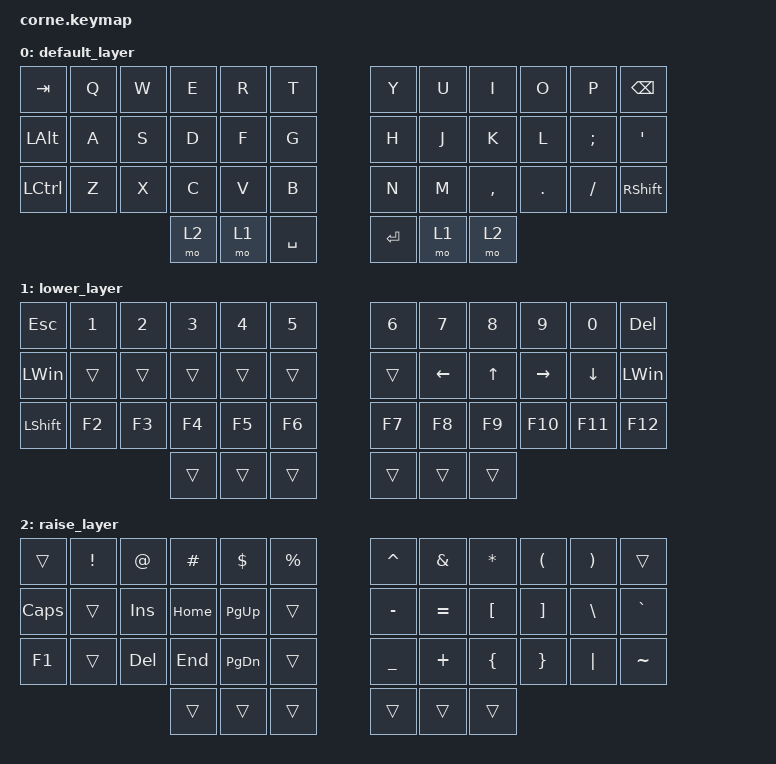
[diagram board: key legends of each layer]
/*
 * Copyright (c) 2020 The ZMK Contributors
 *
 * SPDX-License-Identifier: MIT
 */

#include <behaviors.dtsi>
#include <dt-bindings/zmk/keys.h>

/ {
    keymap {
        compatible = "zmk,keymap";

        default_layer {
            // -----------------------------------------------------------------------------------------
            // |  TAB |  Q  |  W  |  E  |  R  |  T  |   |  Y  |  U   |  I  |  O  |  P  | BKSP |
            // | CTRL |  A  |  S  |  D  |  F  |  G  |   |  H  |  J   |  K  |  L  |  ;  |  '   |
            // | SHFT |  Z  |  X  |  C  |  V  |  B  |   |  N  |  M   |  ,  |  .  |  /  | ESC  |
            //                    | GUI | LWR | SPC |   | ENT | RSE  | ALT |

            bindings = <
&kp TAB       &kp Q  &kp W  &kp E  &kp R  &kp T        &kp Y    &kp U  &kp I      &kp O    &kp P     &kp BSPC
&kp LEFT_ALT  &kp A  &kp S  &kp D  &kp F  &kp G        &kp H    &kp J  &kp K      &kp L    &kp SEMI  &kp SQT
&kp LCTRL     &kp Z  &kp X  &kp C  &kp V  &kp B        &kp N    &kp M  &kp COMMA  &kp DOT  &kp FSLH  &kp RIGHT_SHIFT
                            &mo 2  &mo 1  &kp SPACE    &kp RET  &mo 1  &mo 2
            >;
        };

        lower_layer {
            // -----------------------------------------------------------------------------------------
            // |  TAB |  1  |  2  |  3  |  4  |  5  |   |  6  |  7  |  8  |  9  |  0  | BKSP |
            // | BTCLR| BT1 | BT2 | BT3 | BT4 | BT5 |   | LFT | DWN |  UP | RGT |     |      |
            // | SHFT |     |     |     |     |     |   |     |     |     |     |     |      |
            //                    | GUI |     | SPC |   | ENT |     | ALT |

            bindings = <
&kp ESC         &kp N1  &kp N2  &kp N3  &kp N4  &kp N5    &kp N6  &kp N7          &kp N8  &kp N9     &kp N0          &kp DELETE
&kp LEFT_WIN    &trans  &trans  &trans  &trans  &trans    &trans  &kp LEFT_ARROW  &kp UP  &kp RIGHT  &kp DOWN_ARROW  &kp LWIN
&kp LEFT_SHIFT  &kp F2  &kp F3  &kp F4  &kp F5  &kp F6    &kp F7  &kp F8          &kp F9  &kp F10    &kp F11         &kp F12
                                &trans  &trans  &trans    &trans  &trans          &trans
            >;
        };

        raise_layer {
            // -----------------------------------------------------------------------------------------
            // |  TAB |  !  |  @  |  #  |  $  |  %  |   |  ^  |  &  |  *  |  (  |  )  | BKSP |
            // | CTRL |     |     |     |     |     |   |  -  |  =  |  [  |  ]  |  \  |  `   |
            // | SHFT |     |     |     |     |     |   |  _  |  +  |  {  |  }  | "|" |  ~   |
            //                    | GUI |     | SPC |   | ENT |     | ALT |

            bindings = <
&trans        &kp EXCL  &kp AT      &kp HASH  &kp DLLR       &kp PRCNT    &kp CARET  &kp AMPS   &kp STAR  &kp LPAR  &kp RPAR  &trans
&kp CAPSLOCK  &trans    &kp INSERT  &kp HOME  &kp PG_UP      &trans       &kp MINUS  &kp EQUAL  &kp LBKT  &kp RBKT  &kp BSLH  &kp GRAVE
&kp F1        &trans    &kp DELETE  &kp END   &kp PAGE_DOWN  &trans       &kp UNDER  &kp PLUS   &kp LBRC  &kp RBRC  &kp PIPE  &kp TILDE
                                    &trans    &trans         &trans       &trans     &trans     &trans
            >;
        };
    };
};
